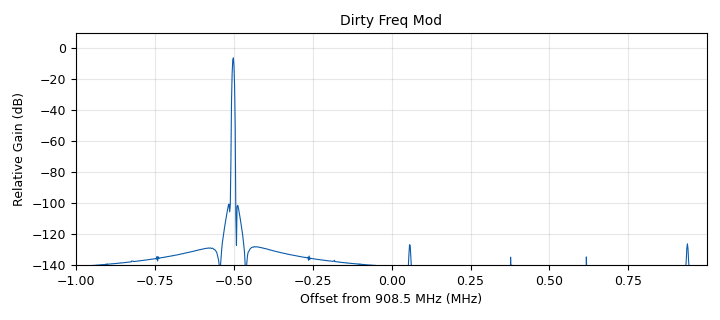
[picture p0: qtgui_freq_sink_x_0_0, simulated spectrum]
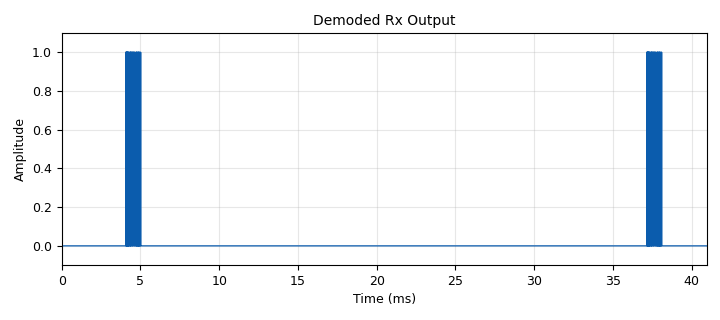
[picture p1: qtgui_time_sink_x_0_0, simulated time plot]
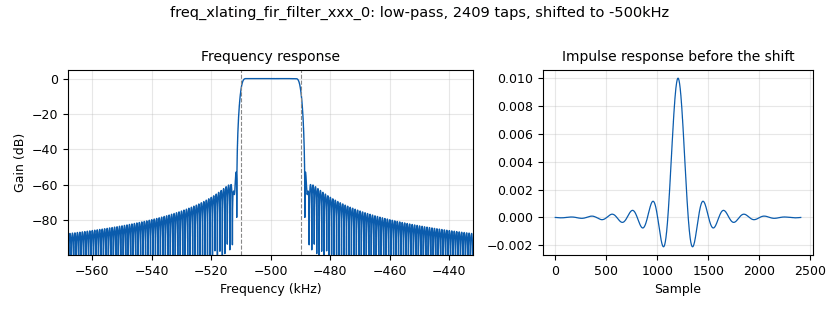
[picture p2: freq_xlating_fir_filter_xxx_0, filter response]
<?xml version='1.0' encoding='utf-8'?>
<?grc format='1' created='3.7.13'?>
<flow_graph>
<block>
<key>options</key>
<param><key>id</key><value>top_block</value></param>
<param><key>category</key><value>Custom</value></param>
<param><key>generate_options</key><value>qt_gui</value></param>
</block>
<block>
<key>variable</key>
<param><key>id</key><value>center_freq</value></param>
<param><key>value</key><value>908.5e6</value></param>
</block>
<block>
<key>variable</key>
<param><key>id</key><value>chan_width</value></param>
<param><key>value</key><value>20e3</value></param>
</block>
<block>
<key>variable_qtgui_entry</key>
<param><key>id</key><value>freq</value></param>
<param><key>value</key><value>908e6</value></param>
<param><key>type</key><value>real</value></param>
</block>
<block>
<key>variable_qtgui_entry</key>
<param><key>id</key><value>noise</value></param>
<param><key>value</key><value>0</value></param>
<param><key>type</key><value>real</value></param>
</block>
<block>
<key>variable</key>
<param><key>id</key><value>samp_rate</value></param>
<param><key>value</key><value>2e6</value></param>
</block>
<block>
<key>variable</key>
<param><key>id</key><value>sps_rx</value></param>
<param><key>value</key><value>int(symbol_time*working_samp_rate)</value></param>
</block>
<block>
<key>variable</key>
<param><key>id</key><value>sps_tx</value></param>
<param><key>value</key><value>int(symbol_time*samp_rate)</value></param>
</block>
<block>
<key>variable</key>
<param><key>id</key><value>symbol_rate</value></param>
<param><key>value</key><value>1.0/symbol_time</value></param>
</block>
<block>
<key>variable</key>
<param><key>id</key><value>symbol_time</value></param>
<param><key>value</key><value>0.1e-3</value></param>
</block>
<block>
<key>variable</key>
<param><key>id</key><value>t_width</value></param>
<param><key>value</key><value>chan_width/10</value></param>
</block>
<block>
<key>variable</key>
<param><key>id</key><value>taps</value></param>
<param><key>value</key><value>firdes.low_pass(1, samp_rate, chan_width/2, t_width)</value></param>
</block>
<block>
<key>variable</key>
<param><key>id</key><value>working_samp_rate</value></param>
<param><key>value</key><value>100e3</value></param>
</block>
<block>
<key>analog_sig_source_x</key>
<param><key>id</key><value>analog_sig_source_x_0</value></param>
<param><key>amp</key><value>1</value></param>
<param><key>freq</key><value>freq-center_freq</value></param>
<param><key>offset</key><value>0</value></param>
<param><key>type</key><value>complex</value></param>
<param><key>samp_rate</key><value>samp_rate</value></param>
<param><key>waveform</key><value>analog.GR_COS_WAVE</value></param>
</block>
<block>
<key>blocks_message_debug</key>
<param><key>id</key><value>blocks_message_debug_0</value></param>
</block>
<block>
<key>blocks_multiply_xx</key>
<param><key>id</key><value>blocks_multiply_xx_0</value></param>
<param><key>type</key><value>complex</value></param>
</block>
<block>
<key>blocks_repack_bits_bb</key>
<param><key>id</key><value>blocks_repack_bits_bb_0</value></param>
<param><key>k</key><value>1</value></param>
<param><key>l</key><value>8</value></param>
<param><key>endianness</key><value>gr.GR_MSB_FIRST</value></param>
<param><key>len_tag_key</key><value>"packet_len"</value></param>
</block>
<block>
<key>blocks_tagged_stream_to_pdu</key>
<param><key>id</key><value>blocks_tagged_stream_to_pdu_0</value></param>
<param><key>type</key><value>byte</value></param>
<param><key>tag</key><value>packet_len</value></param>
</block>
<block>
<key>blocks_throttle</key>
<param><key>id</key><value>blocks_throttle_0</value></param>
<param><key>samples_per_second</key><value>samp_rate</value></param>
<param><key>type</key><value>byte</value></param>
</block>
<block>
<key>blocks_uchar_to_float</key>
<param><key>id</key><value>blocks_uchar_to_float_0</value></param>
</block>
<block>
<key>blocks_vector_source_x</key>
<param><key>id</key><value>blocks_vector_source_x_0</value></param>
<param><key>type</key><value>byte</value></param>
<param><key>repeat</key><value>True</value></param>
<param><key>vector</key><value>[85, 85]+list(ord(i) for i in "Hello SDR!" ) + 400 * [0,]</value></param>
</block>
<block>
<key>channels_channel_model</key>
<param><key>id</key><value>channels_channel_model_0</value></param>
<param><key>epsilon</key><value>1.0</value></param>
<param><key>freq_offset</key><value>0.0</value></param>
<param><key>noise_voltage</key><value>noise</value></param>
<param><key>seed</key><value>0</value></param>
<param><key>taps</key><value>1.0 + 1.0j</value></param>
</block>
<block>
<key>digital_gmsk_demod</key>
<param><key>id</key><value>digital_gmsk_demod_0</value></param>
<param><key>freq_error</key><value>0.0</value></param>
<param><key>gain_mu</key><value>0.175</value></param>
<param><key>mu</key><value>0.5</value></param>
<param><key>omega_relative_limit</key><value>0.005</value></param>
<param><key>samples_per_symbol</key><value>sps_rx</value></param>
</block>
<block>
<key>digital_gmsk_mod</key>
<param><key>id</key><value>digital_gmsk_mod_0</value></param>
<param><key>bt</key><value>0.35</value></param>
<param><key>samples_per_symbol</key><value>sps_tx</value></param>
</block>
<block>
<key>freq_xlating_fir_filter_xxx</key>
<param><key>id</key><value>freq_xlating_fir_filter_xxx_0</value></param>
<param><key>center_freq</key><value>freq-center_freq</value></param>
<param><key>decim</key><value>int(samp_rate/working_samp_rate)</value></param>
<param><key>samp_rate</key><value>samp_rate</value></param>
<param><key>taps</key><value>taps</value></param>
<param><key>type</key><value>ccc</value></param>
</block>
<block>
<key>qtgui_freq_sink_x</key>
<param><key>id</key><value>qtgui_freq_sink_x_0</value></param>
<param><key>bw</key><value>samp_rate</value></param>
<param><key>fc</key><value>0</value></param>
<param><key>_enabled</key><value>0</value></param>
<param><key>fftsize</key><value>1024</value></param>
<param><key>name</key><value>"Freq Mod"</value></param>
<param><key>showports</key><value>True</value></param>
<param><key>type</key><value>complex</value></param>
<param><key>wintype</key><value>firdes.WIN_BLACKMAN_hARRIS</value></param>
</block>
<block>
<key>qtgui_freq_sink_x</key>
<param><key>id</key><value>qtgui_freq_sink_x_0_0</value></param>
<param><key>bw</key><value>samp_rate</value></param>
<param><key>fc</key><value>center_freq</value></param>
<param><key>fftsize</key><value>1024</value></param>
<param><key>name</key><value>"Dirty Freq Mod"</value></param>
<param><key>showports</key><value>True</value></param>
<param><key>type</key><value>complex</value></param>
<param><key>wintype</key><value>firdes.WIN_BLACKMAN_hARRIS</value></param>
</block>
<block>
<key>qtgui_time_sink_x</key>
<param><key>id</key><value>qtgui_time_sink_x_0_0</value></param>
<param><key>ctrlpanel</key><value>True</value></param>
<param><key>color1</key><value>"blue"</value></param>
<param><key>label1</key><value></value></param>
<param><key>name</key><value>"Demoded Rx Output"</value></param>
<param><key>size</key><value>1024*4</value></param>
<param><key>srate</key><value>working_samp_rate</value></param>
<param><key>tr_delay</key><value>5e-3</value></param>
<param><key>tr_level</key><value>0.5</value></param>
<param><key>tr_mode</key><value>qtgui.TRIG_MODE_AUTO</value></param>
<param><key>type</key><value>float</value></param>
<param><key>ymax</key><value>1.1</value></param>
<param><key>ymin</key><value>-0.1</value></param>
</block>
<block>
<key>qtgui_time_sink_x</key>
<param><key>id</key><value>qtgui_time_sink_x_1</value></param>
<param><key>ctrlpanel</key><value>True</value></param>
<param><key>_enabled</key><value>0</value></param>
<param><key>color1</key><value>"blue"</value></param>
<param><key>label1</key><value></value></param>
<param><key>color2</key><value>"red"</value></param>
<param><key>label2</key><value></value></param>
<param><key>name</key><value>"Tx Output"</value></param>
<param><key>size</key><value>1024 *16</value></param>
<param><key>srate</key><value>samp_rate</value></param>
<param><key>type</key><value>complex</value></param>
<param><key>ymax</key><value>1.1</value></param>
<param><key>ymin</key><value>-1.1</value></param>
</block>
<block>
<key>reveng_correlate_access_code_xx_ts_fl</key>
<param><key>id</key><value>reveng_correlate_access_code_xx_ts_fl_0</value></param>
<param><key>access_code</key><value>0101010101010101</value></param>
<param><key>len</key><value>10</value></param>
<param><key>tagname</key><value>packet_len</value></param>
<param><key>threshold</key><value>0</value></param>
</block>
<connection><source_block_id>analog_sig_source_x_0</source_block_id><sink_block_id>blocks_multiply_xx_0</sink_block_id><source_key>0</source_key><sink_key>1</sink_key></connection>
<connection><source_block_id>blocks_multiply_xx_0</source_block_id><sink_block_id>channels_channel_model_0</sink_block_id><source_key>0</source_key><sink_key>0</sink_key></connection>
<connection><source_block_id>blocks_repack_bits_bb_0</source_block_id><sink_block_id>blocks_tagged_stream_to_pdu_0</sink_block_id><source_key>0</source_key><sink_key>0</sink_key></connection>
<connection><source_block_id>blocks_tagged_stream_to_pdu_0</source_block_id><sink_block_id>blocks_message_debug_0</sink_block_id><source_key>pdus</source_key><sink_key>print</sink_key></connection>
<connection><source_block_id>blocks_throttle_0</source_block_id><sink_block_id>digital_gmsk_mod_0</sink_block_id><source_key>0</source_key><sink_key>0</sink_key></connection>
<connection><source_block_id>blocks_uchar_to_float_0</source_block_id><sink_block_id>qtgui_time_sink_x_0_0</sink_block_id><source_key>0</source_key><sink_key>0</sink_key></connection>
<connection><source_block_id>blocks_vector_source_x_0</source_block_id><sink_block_id>blocks_throttle_0</sink_block_id><source_key>0</source_key><sink_key>0</sink_key></connection>
<connection><source_block_id>channels_channel_model_0</source_block_id><sink_block_id>freq_xlating_fir_filter_xxx_0</sink_block_id><source_key>0</source_key><sink_key>0</sink_key></connection>
<connection><source_block_id>channels_channel_model_0</source_block_id><sink_block_id>qtgui_freq_sink_x_0_0</sink_block_id><source_key>0</source_key><sink_key>0</sink_key></connection>
<connection><source_block_id>digital_gmsk_demod_0</source_block_id><sink_block_id>blocks_uchar_to_float_0</sink_block_id><source_key>0</source_key><sink_key>0</sink_key></connection>
<connection><source_block_id>digital_gmsk_demod_0</source_block_id><sink_block_id>reveng_correlate_access_code_xx_ts_fl_0</sink_block_id><source_key>0</source_key><sink_key>0</sink_key></connection>
<connection><source_block_id>digital_gmsk_mod_0</source_block_id><sink_block_id>blocks_multiply_xx_0</sink_block_id><source_key>0</source_key><sink_key>0</sink_key></connection>
<connection><source_block_id>digital_gmsk_mod_0</source_block_id><sink_block_id>qtgui_freq_sink_x_0</sink_block_id><source_key>0</source_key><sink_key>0</sink_key></connection>
<connection><source_block_id>freq_xlating_fir_filter_xxx_0</source_block_id><sink_block_id>digital_gmsk_demod_0</sink_block_id><source_key>0</source_key><sink_key>0</sink_key></connection>
<connection><source_block_id>reveng_correlate_access_code_xx_ts_fl_0</source_block_id><sink_block_id>blocks_repack_bits_bb_0</sink_block_id><source_key>0</source_key><sink_key>0</sink_key></connection>
</flow_graph>
